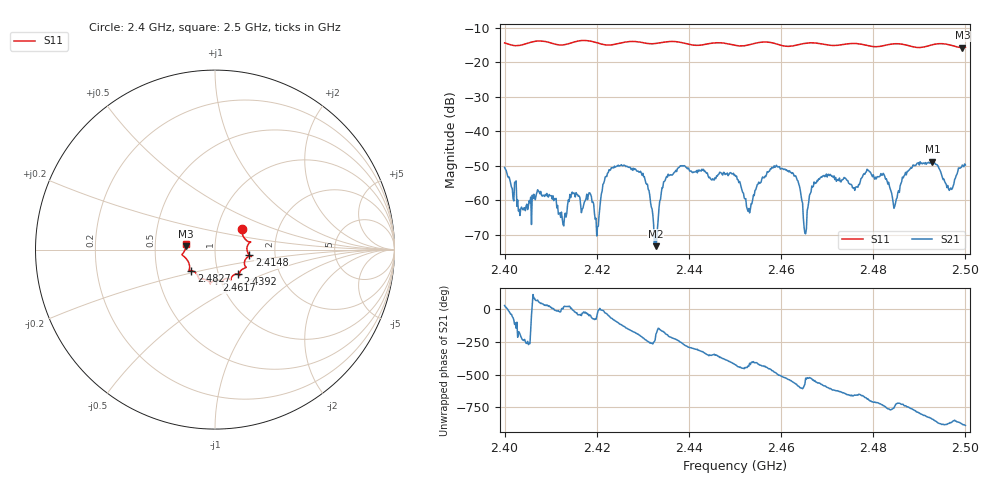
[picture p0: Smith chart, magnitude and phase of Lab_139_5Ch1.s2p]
# Hz S RI R 50
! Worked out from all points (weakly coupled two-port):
!   601 points, 2.4 GHz to 2.5 GHz, reference 50 ohm
!   highest |S21| = -48.77 dB at 2.4928 GHz (marker M1); lowest = -73.3 dB at 2.4328 GHz (marker M2)
!   lowest |S11| = -15.7 dB at 2.4993 GHz (marker M3), VSWR 1.39, Z = 36 + j1.4 ohm
!   |S11| at or under -10 dB: start of sweep to end of sweep
!   S12 and S22 are empty: the file has one direction only
!   S11 on the Smith chart (normalised r, x): 2.4 GHz: 1.32, +0.31; 2.4148 GHz: 1.47, -0.09; 2.4392 GHz: 1.24, -0.35; 2.4617 GHz: 0.96, -0.34; 2.4827 GHz: 0.75, -0.18; 2.5 GHz: 0.72, +0.05
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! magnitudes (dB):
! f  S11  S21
! 2.4 GHz  -14.4  -50.5
! 2.4035 GHz  -15.1  -62.5
! 2.4148 GHz  -14.2  -58.1
! 2.4167 GHz  -13.7  -63.6
! 2.42 GHz  -14.3  -70.3
! 2.4228 GHz  -15.0  -51.3
! 2.4285 GHz  -14.0  -51.1
! 2.4328 GHz  -14.6  -73.3
! 2.4333 GHz  -14.5  -65.5
! 2.435 GHz  -14.1  -53.5
! 2.4392 GHz  -14.5  -50.1
! 2.45 GHz  -15.1  -52.7
! 2.453 GHz  -15.0  -62.4
! 2.4617 GHz  -15.4  -51.8
! 2.4653 GHz  -14.5  -69.7
! 2.4667 GHz  -14.4  -55.9
! 2.4827 GHz  -15.1  -53.8
! 2.4833 GHz  -14.9  -54.7
! 2.4928 GHz  -14.9  -48.8
! 2.4968 GHz  -15.1  -56.4
! 2.4993 GHz  -15.7  -49.8
! 2.5 GHz  -15.7  -49.8
